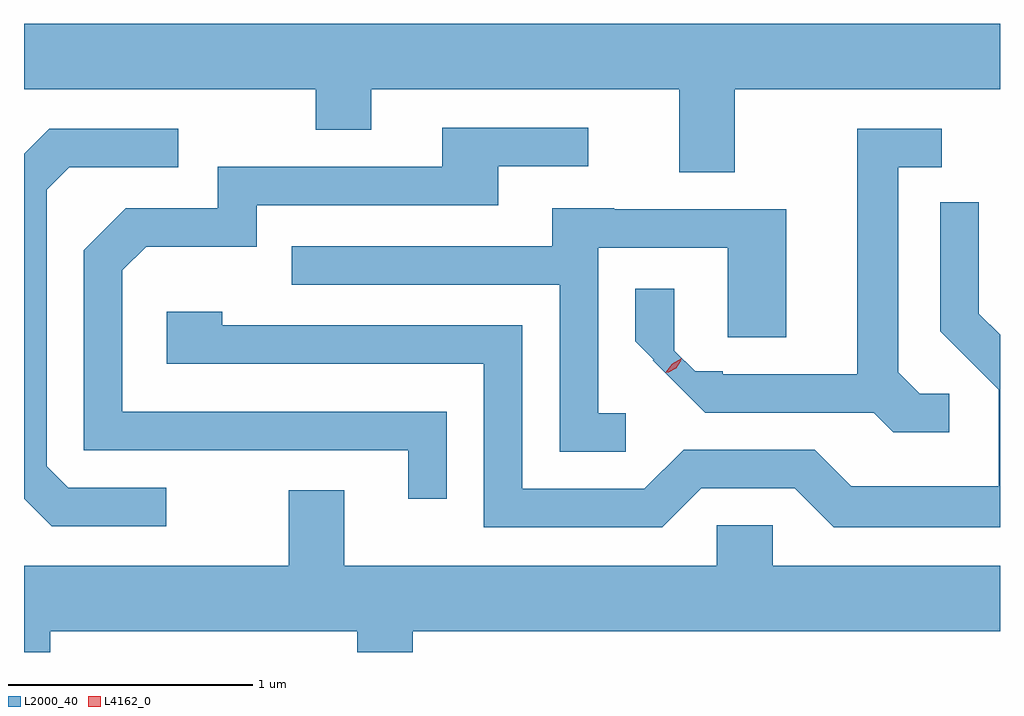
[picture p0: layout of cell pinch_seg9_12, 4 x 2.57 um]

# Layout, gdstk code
import gdstk
lib = gdstk.Library(unit=1e-6, precision=1e-09)
def P(c, l, *ps):  # polygons
    for p in ps: c.add(gdstk.Polygon(p, *l))
L2000_40 = (2000, 40)
L4162_0 = (4162, 0)

pinch_seg9_12 = lib.new_cell('pinch_seg9_12')
P(pinch_seg9_12, L2000_40, [(1910.499,1987.376),(1911.586,1987.376),(1911.586,1987.644),(1907.586,1987.644),(1907.586,1987.376),(1908.781,1987.376),(1908.781,1987.211),(1909.009,1987.211),(1909.009,1987.376),(1910.271,1987.376),(1910.271,1987.036),(1910.499,1987.036)],
  [(1909.319,1986.054),(1907.989,1986.054),(1907.989,1986.634),(1908.087,1986.731),(1908.539,1986.731),(1908.539,1986.901),(1909.529,1986.901),(1909.529,1987.061),(1909.898,1987.061),(1909.898,1987.219),(1909.301,1987.219),(1909.301,1987.059),(1908.381,1987.059),(1908.381,1986.889),(1908.004,1986.889),(1907.831,1986.717),(1907.831,1985.896),(1909.161,1985.896),(1909.161,1985.698),(1909.319,1985.698)],
  [(1911.378,1986.129),(1911.257,1986.129),(1911.169,1986.217),(1911.169,1987.056),(1911.348,1987.056),(1911.348,1987.214),(1911.001,1987.214),(1911.001,1986.209),(1910.45,1986.209),(1910.45,1986.22),(1910.336,1986.22),(1910.251,1986.305),(1910.251,1986.558),(1910.091,1986.558),(1910.091,1986.343),(1910.166,1986.268),(1910.163,1986.266),(1910.378,1986.051),(1911.069,1986.051),(1911.149,1985.971),(1911.378,1985.971)],
  [(1908.168,1985.744),(1907.767,1985.744),(1907.679,1985.832),(1907.679,1986.964),(1907.772,1987.056),(1908.218,1987.056),(1908.218,1987.214),(1907.689,1987.214),(1907.586,1987.112),(1907.586,1985.699),(1907.699,1985.586),(1908.168,1985.586)],
  [(1910.362,1985.741),(1910.744,1985.741),(1910.904,1985.581),(1911.586,1985.581),(1911.586,1986.37),(1911.499,1986.457),(1911.499,1986.913),(1911.341,1986.913),(1911.341,1986.384),(1911.581,1986.144),(1911.581,1985.749),(1910.977,1985.749),(1910.827,1985.899),(1910.289,1985.899),(1910.129,1985.739),(1909.629,1985.739),(1909.629,1986.409),(1908.399,1986.409),(1908.399,1986.464),(1908.171,1986.464),(1908.171,1986.251),(1909.471,1986.251),(1909.471,1985.581),(1910.202,1985.581)],
  [(1910.053,1986.049),(1909.939,1986.049),(1909.939,1986.726),(1910.471,1986.726),(1910.471,1986.361),(1910.709,1986.361),(1910.709,1986.884),(1910.005,1986.884),(1910.005,1986.889),(1909.751,1986.889),(1909.751,1986.734),(1908.683,1986.734),(1908.683,1986.576),(1909.781,1986.576),(1909.781,1985.891),(1910.053,1985.891)],
  [(1907.694,1985.156),(1908.951,1985.156),(1908.951,1985.07),(1909.179,1985.07),(1909.179,1985.156),(1911.586,1985.156),(1911.586,1985.424),(1910.654,1985.424),(1910.654,1985.589),(1910.426,1985.589),(1910.426,1985.424),(1908.899,1985.424),(1908.899,1985.734),(1908.671,1985.734),(1908.671,1985.424),(1907.586,1985.424),(1907.586,1985.07),(1907.694,1985.07)])
P(pinch_seg9_12, L4162_0, [(1910.216,1986.215),(1910.216,1986.216),(1910.242,1986.252),(1910.281,1986.274),(1910.281,1986.274),(1910.281,1986.274),(1910.255,1986.237),(1910.217,1986.215)],
  [(1910.225,1986.215),(1910.225,1986.216),(1910.246,1986.248),(1910.28,1986.266),(1910.28,1986.266),(1910.28,1986.265),(1910.26,1986.233),(1910.225,1986.215)])

lib.write_gds('pinch_seg9_12.gds')
